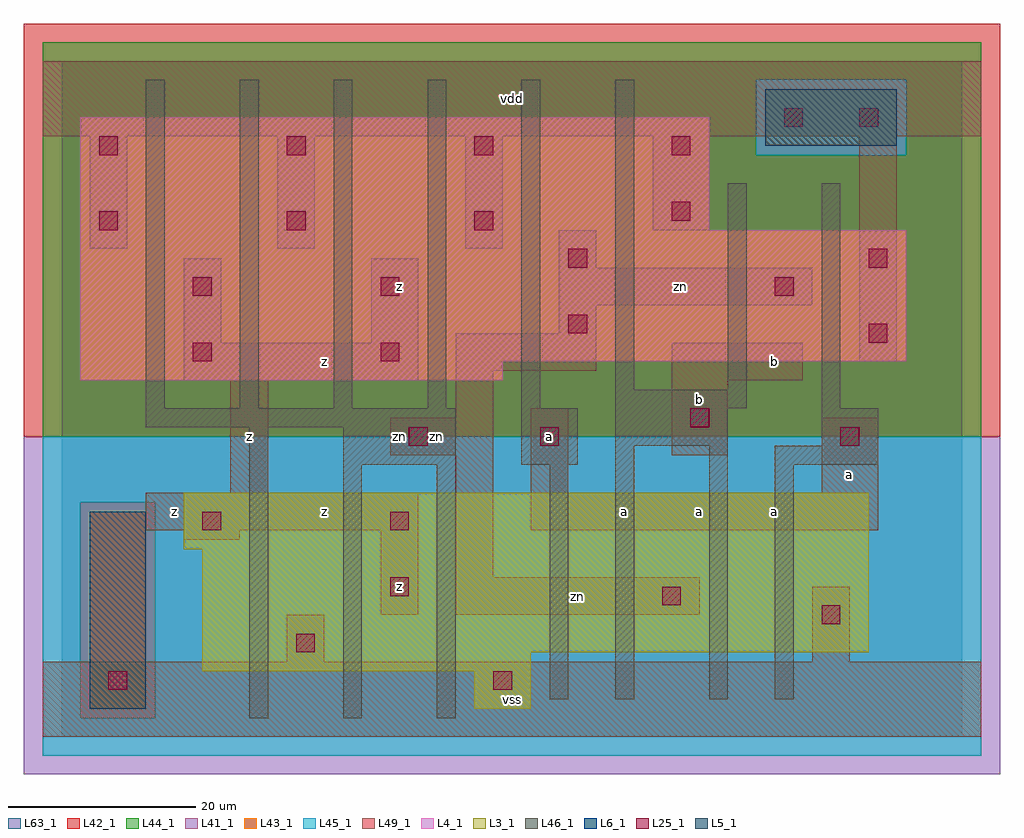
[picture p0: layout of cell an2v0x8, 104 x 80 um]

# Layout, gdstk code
import gdstk
lib = gdstk.Library(unit=1e-6, precision=1e-09)
def R(c, l, rs):  # rectangles x0, y0, x1, y1
    for r in rs: c.add(gdstk.rectangle(r[:2], r[2:], *l))
def A(c, l, x, y, w, h, nx, ny, dx, dy):  # array of equal rectangles
    R(c, l, [(x+i*dx, y+j*dy, x+i*dx+w, y+j*dy+h) for i in range(nx) for j in range(ny)])
L3_1 = (3, 1)
L4_1 = (4, 1)
L5_1 = (5, 1)
L6_1 = (6, 1)
L25_1 = (25, 1)
L41_1 = (41, 1)
L42_1 = (42, 1)
L43_1 = (43, 1)
L44_1 = (44, 1)
L45_1 = (45, 1)
L46_1 = (46, 1)
L49_1 = (49, 1)
L63_1 = (63, 1)

an2v0x8 = lib.new_cell('an2v0x8')
R(an2v0x8, L3_1, [(44,3,50,7), (15,7,50,9), (15,9,86,20), (13,20,86,26)])
R(an2v0x8, L4_1, [(2,38,47,40), (2,40,90,54), (2,54,69,66)])
R(an2v0x8, L5_1, [(75,63,89,69)])
R(an2v0x8, L6_1, [(3,3,9,24), (3,3,9,24)])
A(an2v0x8, L25_1, 4, 54, 2, 2, 3, 2, 20, 8)
R(an2v0x8, L25_1, [(5,5,7,7), (46,5,48,7), (25,9,27,11), (81,12,83,14), (64,14,66,16), (35,15,37,17), (15,22,17,24), (35,22,37,24), (37,31,39,33), (51,31,53,33), (83,31,85,33), (67,33,69,35), (14,40,16,42), (34,40,36,42), (86,42,88,44), (54,43,56,45), (14,47,16,49), (34,47,36,49), (76,47,78,49), (54,50,56,52), (86,50,88,52), (65,55,67,57), (65,62,67,64), (77,65,79,67), (85,65,87,67)])
R(an2v0x8, L41_1, [(-4,-4,100,32)])
R(an2v0x8, L42_1, [(-4,32,100,76)])
R(an2v0x8, L43_1, [(3,3,9,24), (44,3,50,7), (15,7,50,9), (15,9,86,20), (13,20,86,26), (2,38,47,40), (2,40,90,54), (2,54,69,66), (75,63,89,69)])
R(an2v0x8, L44_1, [(2,2,10,25), (-2,32,98,62), (-2,62,74,70), (90,62,98,70), (-2,70,98,74)])
R(an2v0x8, L45_1, [(-2,-2,98,2), (-2,2,2,25), (10,2,98,25), (-2,25,98,32), (74,62,90,70)])
A(an2v0x8, L46_1, 9, 35, 2, 35, 5, 1, 10, 0)
R(an2v0x8, L46_1, [(20,2,22,33), (30,2,32,29), (40,2,42,29), (52,4,54,29), (59,4,61,31), (69,4,71,31), (76,4,78,29), (30,29,42,33), (49,29,55,35), (76,29,87,31), (59,31,71,35), (81,31,87,35), (9,33,42,35), (59,35,73,37), (81,35,83,59), (59,37,61,70), (71,37,73,59)])
A(an2v0x8, L49_1, 3, 52, 4, 12, 3, 1, 20, 0)
R(an2v0x8, L49_1, [(-2,0,98,8), (24,8,28,13), (80,8,84,16), (34,13,38,22), (42,13,68,17), (42,17,46,30), (13,21,19,22), (9,22,38,26), (50,22,87,26), (18,26,22,38), (50,26,54,35), (81,26,87,34), (35,30,46,34), (65,30,71,38), (42,34,46,39), (13,38,38,42), (65,38,79,42), (42,39,57,43), (85,40,89,64), (13,42,17,51), (33,42,38,51), (53,43,57,46), (53,46,80,50), (53,50,57,54), (63,54,69,64), (-2,64,98,72)])
R(an2v0x8, L63_1, [(0,0,96,72)])
an2v0x8.add(gdstk.Label('zn', (36,32), layer=46, texttype=1))
an2v0x8.add(gdstk.Label('z', (12,24), layer=49, texttype=1))
an2v0x8.add(gdstk.Label('z', (28,24), layer=49, texttype=1))
an2v0x8.add(gdstk.Label('z', (20,32), layer=49, texttype=1))
an2v0x8.add(gdstk.Label('z', (28,40), layer=49, texttype=1))
an2v0x8.add(gdstk.Label('vss', (48,4), layer=49, texttype=1))
an2v0x8.add(gdstk.Label('z', (36,16), layer=49, texttype=1))
an2v0x8.add(gdstk.Label('a', (52,32), layer=49, texttype=1))
an2v0x8.add(gdstk.Label('zn', (40,32), layer=49, texttype=1))
an2v0x8.add(gdstk.Label('z', (36,48), layer=49, texttype=1))
an2v0x8.add(gdstk.Label('vdd', (48,68), layer=49, texttype=1))
an2v0x8.add(gdstk.Label('zn', (55,15), layer=49, texttype=1))
an2v0x8.add(gdstk.Label('a', (60,24), layer=49, texttype=1))
an2v0x8.add(gdstk.Label('a', (76,24), layer=49, texttype=1))
an2v0x8.add(gdstk.Label('a', (68,24), layer=49, texttype=1))
an2v0x8.add(gdstk.Label('b', (76,40), layer=49, texttype=1))
an2v0x8.add(gdstk.Label('b', (68,36), layer=49, texttype=1))
an2v0x8.add(gdstk.Label('a', (84,28), layer=49, texttype=1))
an2v0x8.add(gdstk.Label('zn', (66,48), layer=49, texttype=1))

lib.write_gds('an2v0x8.gds')
